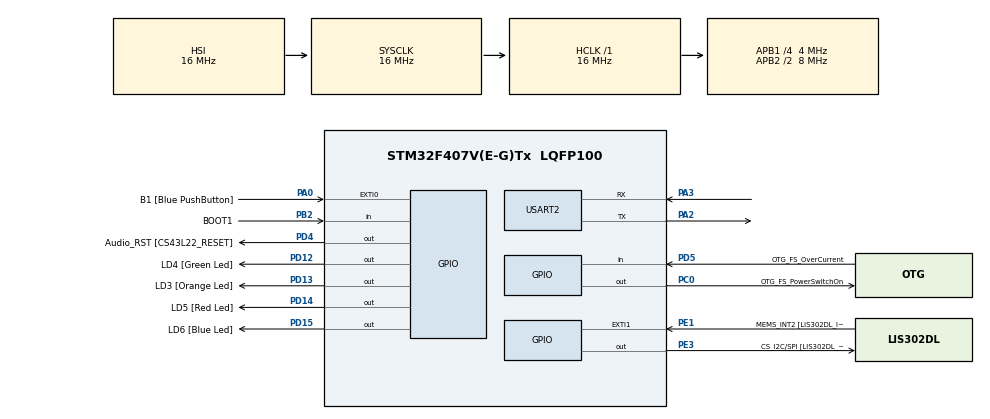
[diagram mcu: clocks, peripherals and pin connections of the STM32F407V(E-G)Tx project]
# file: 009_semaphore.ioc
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Mcu.Family=STM32F4
Mcu.Name=STM32F407V(E-G)Tx
Mcu.Package=LQFP100
NVIC.PriorityGroup=NVIC_PRIORITYGROUP_4
NVIC.TIM6_DAC_IRQn=true\:15\:0\:false\:false\:true\:false\:true\:true
NVIC.TimeBase=TIM6_DAC_IRQn
NVIC.TimeBaseIP=TIM6
PA0-WKUP.GPIO_Label=B1 [Blue PushButton]
PA0-WKUP.Signal=GPXTI0
PA10.GPIO_Label=OTG_FS_ID
PA10.GPIO_Mode=GPIO_MODE_AF_PP
PA10.GPIO_PuPd=GPIO_NOPULL
PA10.GPIO_Speed=GPIO_SPEED_FREQ_LOW
PA10.Signal=USB_OTG_FS_ID
PA11.GPIO_Label=OTG_FS_DM
PA11.GPIO_Mode=GPIO_MODE_AF_PP
PA11.GPIO_PuPd=GPIO_NOPULL
PA11.GPIO_Speed=GPIO_SPEED_FREQ_LOW
PA11.Signal=USB_OTG_FS_DM
PA12.GPIO_Label=OTG_FS_DP
PA12.GPIO_Mode=GPIO_MODE_AF_PP
PA12.GPIO_PuPd=GPIO_NOPULL
PA12.GPIO_Speed=GPIO_SPEED_FREQ_LOW
PA12.Signal=USB_OTG_FS_DP
PA13.GPIO_Label=SWDIO
PA13.Signal=SYS_JTMS-SWDIO
PA14.GPIO_Label=SWCLK
PA14.Signal=SYS_JTCK-SWCLK
PA2.Mode=Asynchronous
PA2.Signal=USART2_TX
PA3.Mode=Asynchronous
PA3.Signal=USART2_RX
PA4.GPIO_Label=I2S3_WS [CS43L22_LRCK]
PA4.GPIO_Mode=GPIO_MODE_AF_PP
PA4.GPIO_PuPd=GPIO_NOPULL
PA4.GPIO_Speed=GPIO_SPEED_FREQ_LOW
PA4.Signal=I2S3_WS
PA5.GPIO_Label=SPI1_SCK [LIS302DL_SCL/SPC]
PA5.GPIO_Mode=GPIO_MODE_AF_PP
PA5.GPIO_PuPd=GPIO_NOPULL
PA5.GPIO_Speed=GPIO_SPEED_FREQ_LOW
PA5.Signal=SPI1_SCK
PA6.GPIO_Label=SPI1_MISO [LIS302DL_SDO]
PA6.GPIO_Mode=GPIO_MODE_AF_PP
PA6.GPIO_PuPd=GPIO_NOPULL
PA6.GPIO_Speed=GPIO_SPEED_FREQ_LOW
PA6.Signal=SPI1_MISO
PA7.GPIO_Label=SPI1_MOSI [LIS302DL_SDA/SDI/SDO]
PA7.GPIO_Mode=GPIO_MODE_AF_PP
PA7.GPIO_PuPd=GPIO_NOPULL
PA7.GPIO_Speed=GPIO_SPEED_FREQ_LOW
PA7.Signal=SPI1_MOSI
PA9.GPIO_Label=VBUS_FS
PA9.GPIO_Mode=GPIO_MODE_INPUT
PA9.GPIO_PuPd=GPIO_NOPULL
PA9.Signal=USB_OTG_FS_VBUS
PB10.GPIO_Label=CLK_IN [MP45DT02_CLK]
PB10.GPIO_Mode=GPIO_MODE_AF_PP
PB10.GPIO_PuPd=GPIO_NOPULL
PB10.GPIO_Speed=GPIO_SPEED_FREQ_LOW
PB10.Signal=I2S2_CK
PB2.GPIO_Label=BOOT1
PB2.GPIO_Mode=GPIO_MODE_INPUT
PB2.GPIO_PuPd=GPIO_NOPULL
PB2.Signal=GPIO_Input
PB3.GPIO_Label=SWO
PB3.Signal=SYS_JTDO-SWO
PB6.GPIO_Label=Audio_SCL [CS43L22_SCL]
PB6.GPIO_Mode=GPIO_MODE_AF_OD
PB6.GPIO_PuPd=GPIO_NOPULL
PB6.GPIO_Speed=GPIO_SPEED_FREQ_LOW
PB6.Signal=I2C1_SCL
PB9.GPIO_Label=Audio_SDA [CS43L22_SDA]
PB9.GPIO_Mode=GPIO_MODE_AF_OD
PB9.GPIO_PuPd=GPIO_NOPULL
PB9.GPIO_Speed=GPIO_SPEED_FREQ_LOW
PB9.Signal=I2C1_SDA
PC0.GPIO_Label=OTG_FS_PowerSwitchOn
PC0.GPIO_PuPd=GPIO_NOPULL
PC0.GPIO_Speed=GPIO_SPEED_FREQ_LOW
PC0.PinState=GPIO_PIN_SET
PC0.Signal=GPIO_Output
PC10.GPIO_Label=I2S3_SCK [CS43L22_SCLK]
PC10.GPIO_Mode=GPIO_MODE_AF_PP
PC10.GPIO_PuPd=GPIO_NOPULL
PC10.GPIO_Speed=GPIO_SPEED_FREQ_LOW
PC10.Signal=I2S3_CK
PC12.GPIO_Label=I2S3_SD [CS43L22_SDIN]
PC12.GPIO_Mode=GPIO_MODE_AF_PP
PC12.GPIO_PuPd=GPIO_NOPULL
PC12.GPIO_Speed=GPIO_SPEED_FREQ_LOW
PC12.Signal=I2S3_SD
PC14-OSC32_IN.GPIO_Label=PC14-OSC32_IN
PC14-OSC32_IN.Signal=RCC_OSC32_IN
PC15-OSC32_OUT.GPIO_Label=PC15-OSC32_OUT
PC15-OSC32_OUT.Signal=RCC_OSC32_OUT
PC3.GPIO_Label=PDM_OUT [MP45DT02_DOUT]
PC3.GPIO_Mode=GPIO_MODE_AF_PP
PC3.GPIO_PuPd=GPIO_NOPULL
PC3.GPIO_Speed=GPIO_SPEED_FREQ_LOW
PC3.Signal=I2S2_SD
PC7.GPIO_Label=I2S3_MCK [CS43L22_MCLK]
PC7.GPIO_Mode=GPIO_MODE_AF_PP
PC7.GPIO_PuPd=GPIO_NOPULL
PC7.GPIO_Speed=GPIO_SPEED_FREQ_LOW
PC7.Signal=I2S3_MCK
PD12.GPIO_Label=LD4 [Green Led]
PD12.GPIO_PuPd=GPIO_NOPULL
PD12.GPIO_Speed=GPIO_SPEED_FREQ_LOW
PD12.Signal=GPIO_Output
PD13.GPIO_Label=LD3 [Orange Led]
PD13.GPIO_PuPd=GPIO_NOPULL
PD13.GPIO_Speed=GPIO_SPEED_FREQ_LOW
PD13.Signal=GPIO_Output
PD14.GPIO_Label=LD5 [Red Led]
PD14.GPIO_PuPd=GPIO_NOPULL
PD14.GPIO_Speed=GPIO_SPEED_FREQ_LOW
PD14.Signal=GPIO_Output
PD15.GPIO_Label=LD6 [Blue Led]
PD15.GPIO_PuPd=GPIO_NOPULL
PD15.GPIO_Speed=GPIO_SPEED_FREQ_LOW
PD15.Signal=GPIO_Output
PD4.GPIO_Label=Audio_RST [CS43L22_RESET]
PD4.GPIO_PuPd=GPIO_NOPULL
PD4.GPIO_Speed=GPIO_SPEED_FREQ_LOW
PD4.Signal=GPIO_Output
PD5.GPIO_Label=OTG_FS_OverCurrent
PD5.GPIO_Mode=GPIO_MODE_INPUT
PD5.GPIO_PuPd=GPIO_NOPULL
PD5.Signal=GPIO_Input
PE1.GPIO_Label=MEMS_INT2 [LIS302DL_INT2]
PE1.GPIO_ModeDefaultEXTI=GPIO_MODE_EVT_RISING
PE1.GPIO_PuPd=GPIO_NOPULL
PE1.Signal=GPXTI1
PE3.GPIO_Label=CS_I2C/SPI [LIS302DL_CS_I2C/SPI]
PE3.GPIO_PuPd=GPIO_NOPULL
PE3.GPIO_Speed=GPIO_SPEED_FREQ_LOW
PE3.Signal=GPIO_Output
PH0-OSC_IN.GPIO_Label=PH0-OSC_IN
PH0-OSC_IN.Signal=RCC_OSC_IN
PH1-OSC_OUT.GPIO_Label=PH1-OSC_OUT
PH1-OSC_OUT.Signal=RCC_OSC_OUT
ProjectManager.HeapSize=0x200
ProjectManager.StackSize=0x400
ProjectManager.TargetToolchain=STM32CubeIDE
RCC.48MHZClocksFreq_Value=48000000
RCC.AHBFreq_Value=16000000
RCC.APB1CLKDivider=RCC_HCLK_DIV4
RCC.APB1Freq_Value=4000000
RCC.APB1TimFreq_Value=8000000
RCC.APB2CLKDivider=RCC_HCLK_DIV2
RCC.APB2Freq_Value=8000000
RCC.APB2TimFreq_Value=16000000
RCC.CortexFreq_Value=16000000
RCC.HCLKFreq_Value=16000000
RCC.HSE_VALUE=8000000
RCC.HSI_VALUE=16000000
RCC.LSE_VALUE=32768
RCC.PLLM=8
RCC.PLLN=168
RCC.PLLQ=7
RCC.SYSCLKFreq_VALUE=16000000
RCC.VCOOutputFreq_Value=336000000
USART2.VirtualMode=VM_ASYNC
VP_SYS_VS_tim6.Mode=TIM6
board=STM32F407G-DISC1

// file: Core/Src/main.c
/* USER CODE BEGIN Header */
/**
  ******************************************************************************
  * @file           : main.c
  * @brief          : Main program body
  ******************************************************************************
  * @attention
  *
  * Copyright (c) 2025 STMicroelectronics.
  * All rights reserved.
  *
  * This software is licensed under terms that can be found in the LICENSE file
  * in the root directory of this software component.
  * If no LICENSE file comes with this software, it is provided AS-IS.
  *
  ******************************************************************************
  */
/* USER CODE END Header */
#include "main.h"

/* USER CODE BEGIN Includes */

#include <stdio.h>
#include <stdlib.h>
#include <string.h>

#include "FreeRTOS.h"
#include "task.h"
#include "semphr.h"
#include "queue.h"
#include "stm32f4xx.h"

/* USER CODE END Includes */

UART_HandleTypeDef huart2;

/* USER CODE BEGIN PV */
//global space for some variable
char usr_msg[250]={0};

TaskHandle_t xTaskHandleM = NULL;
TaskHandle_t xTaskHandleE = NULL;

xSemaphoreHandle xWork;
xQueueHandle xWorkQueue;

/* USER CODE END PV */

void SystemClock_Config(void);
static void MX_GPIO_Init(void);
static void MX_USART2_UART_Init(void);
/* USER CODE BEGIN PFP */

static void vManagerTask( void *pvParameters );
static void vEmployeeTask( void *pvParameters );
void printmsg(char *msg);
extern void SEGGER_UART_init(uint32_t);

/* USER CODE END PFP */

int main(void)
{

  /* USER CODE BEGIN 1 */
	//this is here to collect segger event time stamp
	DWT->CTRL |= (1 << 0);//Enable CYCCNT in DWT_CTRL.

  /* USER CODE END 1 */

  /* MCU Configuration--------------------------------------------------------*/

  /* Reset of all peripherals, Initializes the Flash interface and the Systick. */
  HAL_Init();

  /* USER CODE BEGIN Init */
 // HAL_RCC_DeInit();

  /* USER CODE END Init */

  /* Configure the system clock */
  SystemClock_Config();

  /* Initialize all configured peripherals */
  MX_GPIO_Init();
  MX_USART2_UART_Init();
  /* USER CODE BEGIN 2 */

  //SEGGER_UART_init(500000);
  SEGGER_SYSVIEW_Conf();

	//SEGGER_SYSVIEW_Start();

	sprintf(usr_msg,"Demo of Binary semaphore usage between 2 Tasks \r\n");
	SEGGER_SYSVIEW_PrintfTarget(usr_msg);
	printmsg(usr_msg);

    /* Before a semaphore is used it must be explicitly created.
     * In this example a binary semaphore is created . */
    vSemaphoreCreateBinary( xWork );

	/* The queue is created to hold a maximum of 1 Element. */
    xWorkQueue = xQueueCreate( 1, sizeof( unsigned int ) );

    /* Check the semaphore and queue was created successfully. */
    if( (xWork != NULL) && (xWorkQueue != NULL) )
    {

		/* Create the 'Manager' task.  This is the task that will be synchronized with the Employee task.  The Manager task is created with a high priority  */
        xTaskCreate( vManagerTask, "Manager", 500, NULL, 3, NULL );

        /* Create a employee task with less priority than manager */
        xTaskCreate( vEmployeeTask, "Employee", 500, NULL, 1, NULL );

        /* Start the scheduler so the created tasks start executing. */
        vTaskStartScheduler();
    }

    sprintf(usr_msg,"Queue/Sema create failed.. \r\n");
   SEGGER_SYSVIEW_PrintfTarget(usr_msg);
   printmsg(usr_msg);

  /* USER CODE END 2 */

  /* Infinite loop */
  while (1)
  {

  }
}

void SystemClock_Config(void)
{
  RCC_OscInitTypeDef RCC_OscInitStruct = {0};
  RCC_ClkInitTypeDef RCC_ClkInitStruct = {0};

  /** Configure the main internal regulator output voltage
  */
  __HAL_RCC_PWR_CLK_ENABLE();
  __HAL_PWR_VOLTAGESCALING_CONFIG(PWR_REGULATOR_VOLTAGE_SCALE1);

  /** Initializes the RCC Oscillators according to the specified parameters
  * in the RCC_OscInitTypeDef structure.
  */
  RCC_OscInitStruct.OscillatorType = RCC_OSCILLATORTYPE_HSI;
  RCC_OscInitStruct.HSIState = RCC_HSI_ON;
  RCC_OscInitStruct.HSICalibrationValue = RCC_HSICALIBRATION_DEFAULT;
  RCC_OscInitStruct.PLL.PLLState = RCC_PLL_NONE;
  if (HAL_RCC_OscConfig(&RCC_OscInitStruct) != HAL_OK)
  {
    Error_Handler();
  }

  /** Initializes the CPU, AHB and APB buses clocks
  */
  RCC_ClkInitStruct.ClockType = RCC_CLOCKTYPE_HCLK|RCC_CLOCKTYPE_SYSCLK
                              |RCC_CLOCKTYPE_PCLK1|RCC_CLOCKTYPE_PCLK2;
  RCC_ClkInitStruct.SYSCLKSource = RCC_SYSCLKSOURCE_HSI;
  RCC_ClkInitStruct.AHBCLKDivider = RCC_SYSCLK_DIV1;
  RCC_ClkInitStruct.APB1CLKDivider = RCC_HCLK_DIV4;
  RCC_ClkInitStruct.APB2CLKDivider = RCC_HCLK_DIV2;

  if (HAL_RCC_ClockConfig(&RCC_ClkInitStruct, FLASH_LATENCY_0) != HAL_OK)
  {
    Error_Handler();
  }
}

static void MX_USART2_UART_Init(void)
{

  huart2.Instance = USART2;
  huart2.Init.BaudRate = 115200;
  huart2.Init.WordLength = UART_WORDLENGTH_8B;
  huart2.Init.StopBits = UART_STOPBITS_1;
  huart2.Init.Parity = UART_PARITY_NONE;
  huart2.Init.Mode = UART_MODE_TX_RX;
  huart2.Init.HwFlowCtl = UART_HWCONTROL_NONE;
  huart2.Init.OverSampling = UART_OVERSAMPLING_16;
  if (HAL_UART_Init(&huart2) != HAL_OK)
  {
    Error_Handler();
  }

}

static void MX_GPIO_Init(void)
{
  GPIO_InitTypeDef GPIO_InitStruct = {0};

  /* GPIO Ports Clock Enable */
  __HAL_RCC_GPIOE_CLK_ENABLE();
  __HAL_RCC_GPIOC_CLK_ENABLE();
  __HAL_RCC_GPIOH_CLK_ENABLE();
  __HAL_RCC_GPIOA_CLK_ENABLE();
  __HAL_RCC_GPIOB_CLK_ENABLE();
  __HAL_RCC_GPIOD_CLK_ENABLE();

  /*Configure GPIO pin Output Level */
  HAL_GPIO_WritePin(CS_I2C_SPI_GPIO_Port, CS_I2C_SPI_Pin, GPIO_PIN_RESET);

  /*Configure GPIO pin Output Level */
  HAL_GPIO_WritePin(OTG_FS_PowerSwitchOn_GPIO_Port, OTG_FS_PowerSwitchOn_Pin, GPIO_PIN_SET);

  /*Configure GPIO pin Output Level */
  HAL_GPIO_WritePin(GPIOD, LD4_Pin|LD3_Pin|LD5_Pin|LD6_Pin
                          |Audio_RST_Pin, GPIO_PIN_RESET);

  /*Configure GPIO pin : CS_I2C_SPI_Pin */
  GPIO_InitStruct.Pin = CS_I2C_SPI_Pin;
  GPIO_InitStruct.Mode = GPIO_MODE_OUTPUT_PP;
  GPIO_InitStruct.Pull = GPIO_NOPULL;
  GPIO_InitStruct.Speed = GPIO_SPEED_FREQ_LOW;
  HAL_GPIO_Init(CS_I2C_SPI_GPIO_Port, &GPIO_InitStruct);

  /*Configure GPIO pin : OTG_FS_PowerSwitchOn_Pin */
  GPIO_InitStruct.Pin = OTG_FS_PowerSwitchOn_Pin;
  GPIO_InitStruct.Mode = GPIO_MODE_OUTPUT_PP;
  GPIO_InitStruct.Pull = GPIO_NOPULL;
  GPIO_InitStruct.Speed = GPIO_SPEED_FREQ_LOW;
  HAL_GPIO_Init(OTG_FS_PowerSwitchOn_GPIO_Port, &GPIO_InitStruct);

  /*Configure GPIO pin : PDM_OUT_Pin */
  GPIO_InitStruct.Pin = PDM_OUT_Pin;
  GPIO_InitStruct.Mode = GPIO_MODE_AF_PP;
  GPIO_InitStruct.Pull = GPIO_NOPULL;
  GPIO_InitStruct.Speed = GPIO_SPEED_FREQ_LOW;
  GPIO_InitStruct.Alternate = GPIO_AF5_SPI2;
  HAL_GPIO_Init(PDM_OUT_GPIO_Port, &GPIO_InitStruct);

  /*Configure GPIO pin : B1_Pin */
  GPIO_InitStruct.Pin = B1_Pin;
  GPIO_InitStruct.Mode = GPIO_MODE_IT_RISING;
  GPIO_InitStruct.Pull = GPIO_NOPULL;
  HAL_GPIO_Init(B1_GPIO_Port, &GPIO_InitStruct);

  /*Configure GPIO pin : I2S3_WS_Pin */
  GPIO_InitStruct.Pin = I2S3_WS_Pin;
  GPIO_InitStruct.Mode = GPIO_MODE_AF_PP;
  GPIO_InitStruct.Pull = GPIO_NOPULL;
  GPIO_InitStruct.Speed = GPIO_SPEED_FREQ_LOW;
  GPIO_InitStruct.Alternate = GPIO_AF6_SPI3;
  HAL_GPIO_Init(I2S3_WS_GPIO_Port, &GPIO_InitStruct);

  /*Configure GPIO pins : SPI1_SCK_Pin SPI1_MISO_Pin SPI1_MOSI_Pin */
  GPIO_InitStruct.Pin = SPI1_SCK_Pin|SPI1_MISO_Pin|SPI1_MOSI_Pin;
  GPIO_InitStruct.Mode = GPIO_MODE_AF_PP;
  GPIO_InitStruct.Pull = GPIO_NOPULL;
  GPIO_InitStruct.Speed = GPIO_SPEED_FREQ_LOW;
  GPIO_InitStruct.Alternate = GPIO_AF5_SPI1;
  HAL_GPIO_Init(GPIOA, &GPIO_InitStruct);

  /*Configure GPIO pin : BOOT1_Pin */
  GPIO_InitStruct.Pin = BOOT1_Pin;
  GPIO_InitStruct.Mode = GPIO_MODE_INPUT;
  GPIO_InitStruct.Pull = GPIO_NOPULL;
  HAL_GPIO_Init(BOOT1_GPIO_Port, &GPIO_InitStruct);

  /*Configure GPIO pin : CLK_IN_Pin */
  GPIO_InitStruct.Pin = CLK_IN_Pin;
  GPIO_InitStruct.Mode = GPIO_MODE_AF_PP;
  GPIO_InitStruct.Pull = GPIO_NOPULL;
  GPIO_InitStruct.Speed = GPIO_SPEED_FREQ_LOW;
  GPIO_InitStruct.Alternate = GPIO_AF5_SPI2;
  HAL_GPIO_Init(CLK_IN_GPIO_Port, &GPIO_InitStruct);

  /*Configure GPIO pins : LD4_Pin LD3_Pin LD5_Pin LD6_Pin
                           Audio_RST_Pin */
  GPIO_InitStruct.Pin = LD4_Pin|LD3_Pin|LD5_Pin|LD6_Pin
                          |Audio_RST_Pin;
  GPIO_InitStruct.Mode = GPIO_MODE_OUTPUT_PP;
  GPIO_InitStruct.Pull = GPIO_NOPULL;
  GPIO_InitStruct.Speed = GPIO_SPEED_FREQ_LOW;
  HAL_GPIO_Init(GPIOD, &GPIO_InitStruct);

  /*Configure GPIO pins : I2S3_MCK_Pin I2S3_SCK_Pin I2S3_SD_Pin */
  GPIO_InitStruct.Pin = I2S3_MCK_Pin|I2S3_SCK_Pin|I2S3_SD_Pin;
  GPIO_InitStruct.Mode = GPIO_MODE_AF_PP;
  GPIO_InitStruct.Pull = GPIO_NOPULL;
  GPIO_InitStruct.Speed = GPIO_SPEED_FREQ_LOW;
  GPIO_InitStruct.Alternate = GPIO_AF6_SPI3;
  HAL_GPIO_Init(GPIOC, &GPIO_InitStruct);

  /*Configure GPIO pin : VBUS_FS_Pin */
  GPIO_InitStruct.Pin = VBUS_FS_Pin;
  GPIO_InitStruct.Mode = GPIO_MODE_INPUT;
  GPIO_InitStruct.Pull = GPIO_NOPULL;
  HAL_GPIO_Init(VBUS_FS_GPIO_Port, &GPIO_InitStruct);

  /*Configure GPIO pins : OTG_FS_ID_Pin OTG_FS_DM_Pin OTG_FS_DP_Pin */
  GPIO_InitStruct.Pin = OTG_FS_ID_Pin|OTG_FS_DM_Pin|OTG_FS_DP_Pin;
  GPIO_InitStruct.Mode = GPIO_MODE_AF_PP;
  GPIO_InitStruct.Pull = GPIO_NOPULL;
  GPIO_InitStruct.Speed = GPIO_SPEED_FREQ_LOW;
  GPIO_InitStruct.Alternate = GPIO_AF10_OTG_FS;
  HAL_GPIO_Init(GPIOA, &GPIO_InitStruct);

  /*Configure GPIO pin : OTG_FS_OverCurrent_Pin */
  GPIO_InitStruct.Pin = OTG_FS_OverCurrent_Pin;
  GPIO_InitStruct.Mode = GPIO_MODE_INPUT;
  GPIO_InitStruct.Pull = GPIO_NOPULL;
  HAL_GPIO_Init(OTG_FS_OverCurrent_GPIO_Port, &GPIO_InitStruct);

  /*Configure GPIO pins : Audio_SCL_Pin Audio_SDA_Pin */
  GPIO_InitStruct.Pin = Audio_SCL_Pin|Audio_SDA_Pin;
  GPIO_InitStruct.Mode = GPIO_MODE_AF_OD;
  GPIO_InitStruct.Pull = GPIO_NOPULL;
  GPIO_InitStruct.Speed = GPIO_SPEED_FREQ_LOW;
  GPIO_InitStruct.Alternate = GPIO_AF4_I2C1;
  HAL_GPIO_Init(GPIOB, &GPIO_InitStruct);

  /*Configure GPIO pin : MEMS_INT2_Pin */
  GPIO_InitStruct.Pin = MEMS_INT2_Pin;
  GPIO_InitStruct.Mode = GPIO_MODE_EVT_RISING;
  GPIO_InitStruct.Pull = GPIO_NOPULL;
  HAL_GPIO_Init(MEMS_INT2_GPIO_Port, &GPIO_InitStruct);

}

/* USER CODE BEGIN 4 */

void vManagerTask( void *pvParameters )
{

	 unsigned int xWorkTicketId;
	 portBASE_TYPE xStatus;

   /* The semaphore is created in the 'empty' state, meaning the semaphore must
	 first be given using the xSemaphoreGive() API function before it
	 can subsequently be taken (obtained) */
   xSemaphoreGive( xWork);

   for( ;; )
   {
       /* get a work ticket id(some random number) */
       xWorkTicketId = ( rand() & 0x1FF );

		/* Sends work ticket id to the work queue */
		xStatus = xQueueSend( xWorkQueue, &xWorkTicketId , portMAX_DELAY ); //Post an item on back of the queue

		if( xStatus != pdPASS )
		{
			sprintf(usr_msg,"Could not send to the queue.\r\n");
			SEGGER_SYSVIEW_PrintfTarget(usr_msg);
			printmsg(usr_msg);

		}else
		{
			/* Manager notifying the employee by "Giving" semaphore */
			xSemaphoreGive( xWork);
			/* after assigning the work , just yield the processor because nothing to do */
			taskYIELD();

		}
   }
}

void EmployeeDoWork(unsigned char TicketId)
{
	/* implement the work according to TickedID */
	sprintf(usr_msg,"Employee task : Working on Ticked id : %d\r\n",TicketId);
	SEGGER_SYSVIEW_PrintfTarget(usr_msg);
	printmsg(usr_msg);
	vTaskDelay(TicketId);
}

static void vEmployeeTask( void *pvParameters )
{

	unsigned char xWorkTicketId;
	portBASE_TYPE xStatus;
    /* As per most tasks, this task is implemented within an infinite loop. */
    for( ;; )
    {
		/* First Employee tries to take the semaphore, if it is available that means there is a task assigned by manager, otherwise employee task will be blocked */
		xSemaphoreTake( xWork, 0 );

		/* get the ticket id from the work queue */
		xStatus = xQueueReceive( xWorkQueue, &xWorkTicketId, 0 );

		if( xStatus == pdPASS )
		{
		  /* employee may decode the xWorkTicketId in this function to do the work*/
			EmployeeDoWork(xWorkTicketId);
		}
		else
		{
			/* We did not receive anything from the queue.  This must be an error as this task should only run when the manager assigns at least one work. */
			sprintf(usr_msg,"Employee task : Queue is empty , nothing to do.\r\n");
			SEGGER_SYSVIEW_PrintfTarget(usr_msg);
			printmsg(usr_msg);

		}
    }
}

void printmsg(char *msg)
{
	HAL_UART_Transmit(&huart2, (uint8_t*)msg, strlen(msg), HAL_MAX_DELAY);

}

/* USER CODE END 4 */

void HAL_TIM_PeriodElapsedCallback(TIM_HandleTypeDef *htim)
{
  if (htim->Instance == TIM6) {
    HAL_IncTick();
  }
}

void Error_Handler(void)
{
  __disable_irq();
  while (1)
  {
  }
}
